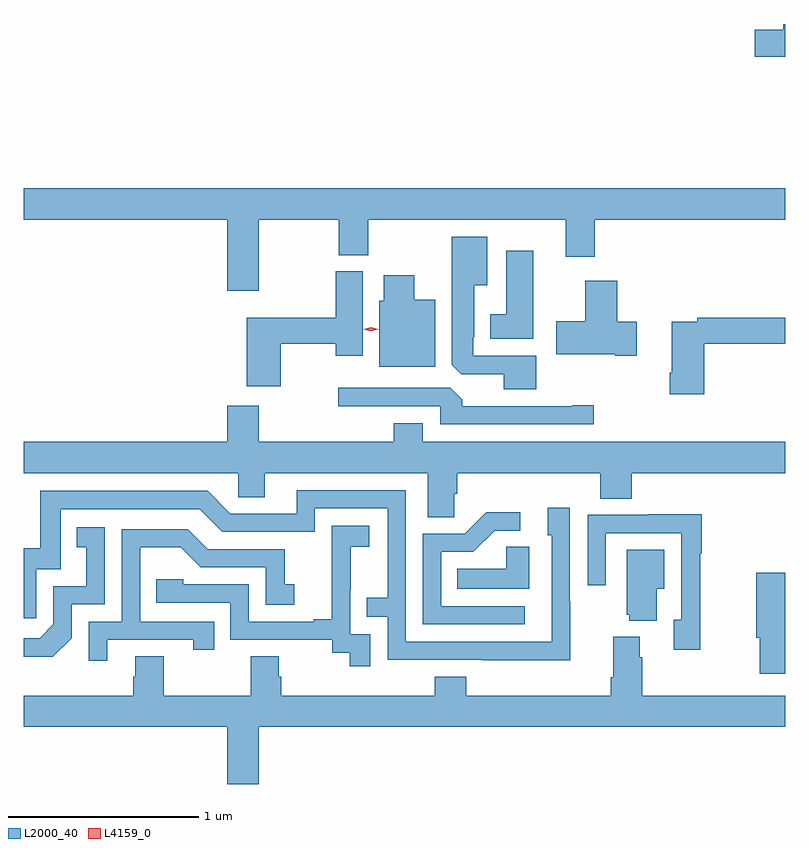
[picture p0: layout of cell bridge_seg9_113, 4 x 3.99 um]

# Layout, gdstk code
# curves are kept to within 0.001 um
import gdstk
lib = gdstk.Library(unit=1e-6, precision=1e-09)
def P(c, l, *ps):  # polygons
    for p in ps: c.add(gdstk.Polygon(p, *l))
L2000_40 = (2000, 40)
L4159_0 = (4159, 0)

bridge_seg9_113 = lib.new_cell('bridge_seg9_113')
P(bridge_seg9_113, L2000_40, [(635.47,1221.423),(635.459,1221.423),(635.459,1221.393),(635.31,1221.393),(635.31,1221.251),(635.47,1221.251)],
  [(632.704,1220.396),(633.124,1220.396),(633.124,1220.209),(633.279,1220.209),(633.279,1220.396),(634.316,1220.396),(634.316,1220.202),(634.469,1220.202),(634.469,1220.396),(635.47,1220.396),(635.47,1220.56),(631.47,1220.56),(631.47,1220.396),(632.54,1220.396),(632.54,1220.022),(632.704,1220.022)],
  [(634.162,1219.68),(633.831,1219.68),(633.831,1219.777),(633.835,1219.777),(633.835,1220.051),(633.904,1220.051),(633.904,1220.305),(633.719,1220.305),(633.719,1219.633),(633.768,1219.584),(633.992,1219.584),(633.992,1219.505),(634.162,1219.505)],
  [(634.147,1220.233),(634.004,1220.233),(634.004,1219.9),(633.92,1219.9),(633.92,1219.769),(634.147,1219.769)],
  [(632.82,1219.744),(633.109,1219.744),(633.109,1219.68),(633.25,1219.68),(633.25,1220.124),(633.109,1220.124),(633.109,1219.88),(632.642,1219.88),(632.642,1219.521),(632.82,1219.521)],
  [(633.631,1219.975),(633.52,1219.975),(633.52,1220.104),(633.362,1220.104),(633.362,1219.971),(633.338,1219.971),(633.338,1219.622),(633.631,1219.622)],
  [(634.69,1219.859),(634.586,1219.859),(634.586,1220.074),(634.418,1220.074),(634.418,1219.863),(634.266,1219.863),(634.266,1219.688),(634.577,1219.688),(634.577,1219.681),(634.69,1219.681)],
  [(635.045,1219.744),(635.47,1219.744),(635.47,1219.88),(635.008,1219.88),(635.008,1219.86),(634.874,1219.86),(634.874,1219.591),(634.862,1219.591),(634.862,1219.479),(635.045,1219.479)],
  [(634.465,1219.421),(634.352,1219.421),(634.352,1219.416),(633.773,1219.416),(633.773,1219.45),(633.711,1219.512),(633.123,1219.512),(633.123,1219.416),(633.657,1219.416),(633.657,1219.32),(634.465,1219.32)],
  [(633.732,1218.955),(633.746,1218.955),(633.746,1219.064),(634.499,1219.064),(634.499,1218.931),(634.664,1218.931),(634.664,1219.064),(635.47,1219.064),(635.47,1219.228),(633.565,1219.228),(633.565,1219.327),(633.413,1219.327),(633.413,1219.228),(632.704,1219.228),(632.704,1219.417),(632.54,1219.417),(632.54,1219.228),(631.47,1219.228),(631.47,1219.064),(632.598,1219.064),(632.598,1218.937),(632.737,1218.937),(632.737,1219.064),(633.593,1219.064),(633.593,1218.832),(633.732,1218.832)],
  [(634.341,1218.389),(634.338,1218.389),(634.338,1218.883),(634.223,1218.883),(634.223,1218.738),(634.242,1218.738),(634.242,1218.18),(633.477,1218.18),(633.477,1218.975),(632.903,1218.975),(632.903,1218.852),(632.556,1218.852),(632.436,1218.972),(631.557,1218.972),(631.557,1218.67),(631.47,1218.67),(631.47,1218.303),(631.536,1218.303),(631.536,1218.561),(631.665,1218.561),(631.665,1218.876),(632.394,1218.876),(632.514,1218.756),(633,1218.756),(633,1218.879),(633.381,1218.879),(633.381,1218.41),(633.271,1218.41),(633.271,1218.309),(633.381,1218.309),(633.381,1218.084),(634.341,1218.083)],
  [(634.102,1218.366),(633.663,1218.366),(633.663,1218.651),(633.832,1218.651),(633.943,1218.762),(634.078,1218.762),(634.078,1218.86),(633.899,1218.86),(633.786,1218.747),(633.567,1218.747),(633.567,1218.27),(634.102,1218.27)],
  [(635.024,1218.643),(635.032,1218.643),(635.032,1218.848),(634.747,1218.848),(634.747,1218.846),(634.431,1218.846),(634.431,1218.477),(634.527,1218.477),(634.527,1218.75),(634.923,1218.75),(634.923,1218.294),(634.883,1218.294),(634.883,1218.138),(635.024,1218.138)],
  [(633.291,1218.219),(633.186,1218.219),(633.186,1218.449),(633.188,1218.449),(633.188,1218.677),(633.286,1218.677),(633.286,1218.787),(633.088,1218.787),(633.088,1218.581),(633.089,1218.581),(633.089,1218.298),(632.993,1218.298),(632.993,1218.285),(632.652,1218.285),(632.652,1218.48),(632.307,1218.48),(632.307,1218.507),(632.167,1218.507),(632.167,1218.384),(632.556,1218.384),(632.556,1218.189),(633.09,1218.189),(633.09,1218.121),(633.183,1218.121),(633.183,1218.051),(633.291,1218.051)],
  [(631.722,1218.198),(631.722,1218.375),(631.896,1218.375),(631.896,1218.781),(631.75,1218.781),(631.75,1218.675),(631.799,1218.675),(631.799,1218.471),(631.626,1218.471),(631.626,1218.27),(631.554,1218.198),(631.47,1218.198),(631.47,1218.101),(631.624,1218.101)],
  [(631.909,1218.189),(632.36,1218.189),(632.36,1218.138),(632.471,1218.138),(632.471,1218.285),(632.082,1218.285),(632.082,1218.674),(632.296,1218.674),(632.4,1218.57),(632.742,1218.57),(632.742,1218.372),(632.89,1218.372),(632.89,1218.481),(632.841,1218.481),(632.841,1218.666),(632.437,1218.666),(632.332,1218.771),(631.986,1218.771),(631.986,1218.285),(631.812,1218.285),(631.812,1218.078),(631.909,1218.078)],
  [(634.126,1218.677),(634.005,1218.677),(634.005,1218.562),(633.748,1218.562),(633.748,1218.458),(634.126,1218.458)],
  [(634.795,1218.458),(634.834,1218.458),(634.834,1218.661),(634.637,1218.661),(634.637,1218.321),(634.649,1218.321),(634.649,1218.29),(634.795,1218.29)],
  [(635.47,1218.541),(635.318,1218.541),(635.318,1218.201),(635.336,1218.201),(635.336,1218.011),(635.47,1218.011)],
  [(632.704,1217.732),(635.47,1217.732),(635.47,1217.896),(634.718,1217.896),(634.718,1218.098),(634.705,1218.098),(634.705,1218.205),(634.565,1218.205),(634.565,1217.992),(634.553,1217.992),(634.553,1217.896),(633.794,1217.896),(633.794,1217.995),(633.629,1217.995),(633.629,1217.896),(632.822,1217.896),(632.822,1217.994),(632.809,1217.994),(632.809,1218.104),(632.662,1218.104),(632.662,1217.896),(632.205,1217.896),(632.205,1218.104),(632.057,1218.104),(632.057,1217.994),(632.045,1217.994),(632.045,1217.896),(631.47,1217.896),(631.47,1217.732),(632.54,1217.732),(632.54,1217.432),(632.704,1217.432)])
P(bridge_seg9_113, L4159_0, [(633.293,1219.81),(633.255,1219.819),(633.255,1219.819),(633.255,1219.819),(633.293,1219.83),(633.331,1219.821),(633.331,1219.82),(633.331,1219.82)])

lib.write_gds('bridge_seg9_113.gds')
